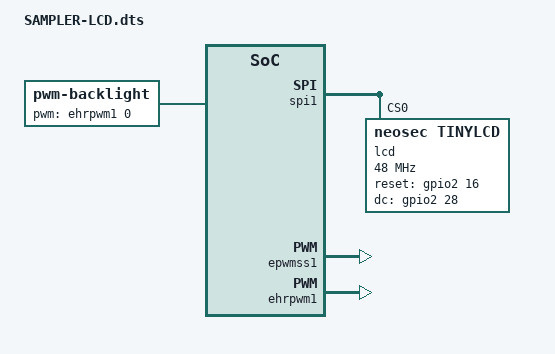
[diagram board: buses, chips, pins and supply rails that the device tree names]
/*
 * Copyright (C) 2014 Noralf Tronnes
 *
 * tinylcd35
 *
 * This program is free software; you can redistribute it and/or modify
 * it under the terms of the GNU General Public License version 2 as
 * published by the Free Software Foundation.
 */
/dts-v1/;
/plugin/;

/ {
	compatible = "ti,beaglebone", "ti,beaglebone-black";

	/* identification */
	part-number = "NEOSEC-TINYLCD35";
	version = "00A0";

	/* state the resources this cape uses */
	exclusive-use =
		/* the pin header uses */
		"P9.22",	/* spi0_sclk */
		"P9.21",	/* spi0_d0 MISO */
		"P9.18",	/* spi1_d1 MOSI */
		"P9.17",	/* spi1_cs0 */
		"P9.16",	/* gpio1_19 - reset */
		"P9.15",	/* gpio1_16 - dc */
		/* the hardware ip uses */
		"gpio1_19",
		"gpio1_16",
		"ehrpwm1A",
		"spi1";

	fragment@0 {
		target = <&am33xx_pinmux>;
		__overlay__ {
			bb_spi1_pins: pinmux_bb_spi1_pins {
				pinctrl-single,pins = <
					0x190 0x33	/* mcasp0_aclkx.spi1_sclk, INPUT_PULLUP | MODE3 */
					0x194 0x33	/* mcasp0_fsx.spi1_d0, INPUT_PULLUP | MODE3 */
					0x198 0x13	/* mcasp0_axr0.spi1_d1, OUTPUT_PULLUP | MODE3 */
					0x19c 0x13	/* mcasp0_ahclkr.spi1_cs0, OUTPUT_PULLUP | MODE3 */
					0x164 0x12	/* eCAP0_in_PWM0_out.spi1_cs1 OUTPUT_PULLUP | MODE2 */
				>;
			};

			lcd_ctrl_pinmux: lcd_ctrl_pins {
				pinctrl-single,pins = <
					0x04c 0x17	/* P9.16 gpio1_16  OUTPUT_PULLUP | MODE7 */
					0x040 0x17	/* P9.15 gpio1_16  OUTPUT_PULLUP | MODE7 */
				>;
			};

			pwm_bl_pins: pinmux_pwm_bl_pins {
				pinctrl-single,pins = <
					0x48 0x06       /* ehrpwm1a, MODE6 */
				>;
			};
		};
	};

	fragment@1 {
		target = <&spi1>;
		__overlay__ {
			status = "okay";
			pinctrl-names = "default";
			pinctrl-0 = <&bb_spi1_pins>;

			#address-cells = <1>;
			#size-cells = <0>;

			lcd@0{
				compatible = "neosec,tinylcd";
				reg = <0>;

				pinctrl-names = "default";
				pinctrl-0 = <&lcd_ctrl_pinmux>;

				spi-max-frequency = <48000000>;
				rotate = <270>;
				bgr;
				fps = <50>;
				buswidth = <8>;
				reset-gpios = <&gpio2 16 0>;
				dc-gpios = <&gpio2 28 0>;

				debug = <3>;
			};
		};
	};

	fragment@2 {
		target = <&epwmss1>;
		__overlay__ {
			status = "okay";
		};
	};

	fragment@3 {
		target = <&ehrpwm1>;
		__overlay__ {
			status = "okay";
		};
	};

	fragment@4 {
		target = <&ocp>;
		__overlay__ {
			backlight {
				compatible = "pwm-backlight";
				pinctrl-names = "default";
				pinctrl-0 = <&pwm_bl_pins>;
				status = "okay";

				pwms = <&ehrpwm1 0 500000 0>;
				pwm-names = "backlight";
				brightness-levels = <0 4 8 16 32 64 128 255>;
				default-brightness-level = <7>; /* index to the array above */
			};
		};
	};
};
